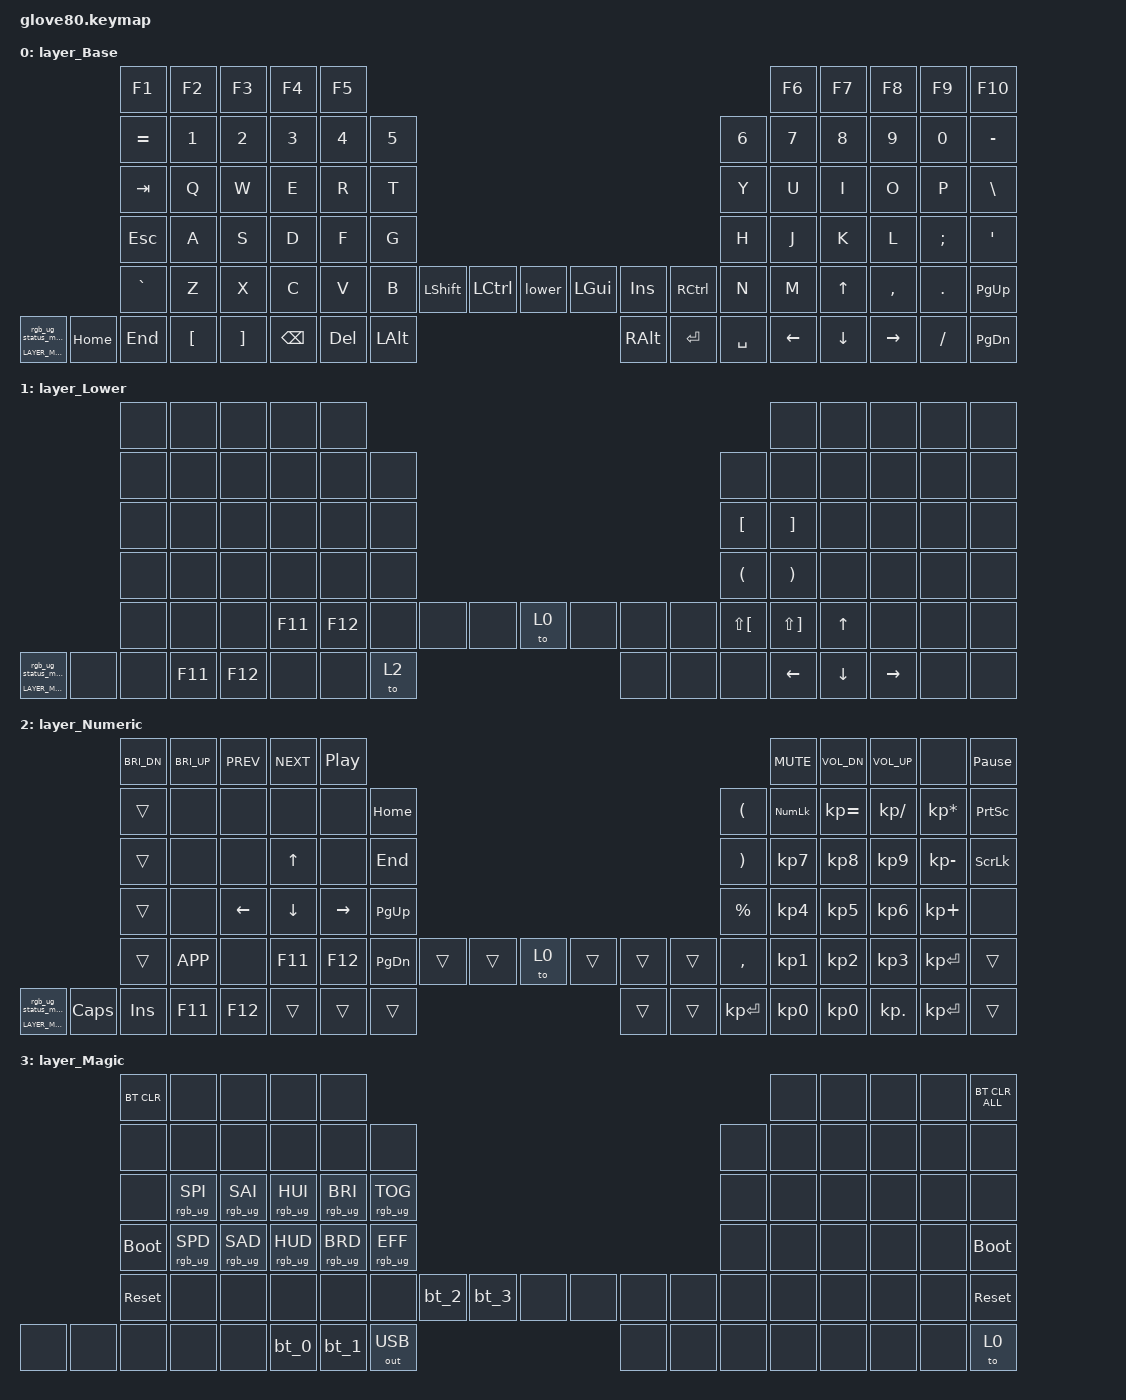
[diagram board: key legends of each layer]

/*
 * Copyright (c) 2020 The ZMK Contributors
 * Copyright (c) 2023 Innaworks Development Limited, trading as MoErgo
 *
 * SPDX-License-Identifier: MIT
 */


/* THIS FILE WAS GENERATED BY GLOVE80 LAYOUT EDITOR
 *
 * This file was generated automatically. You may or may not want to
 * edit it directly.
 */

#include <behaviors.dtsi>
/* Include all behavior includes needed */
#include <dt-bindings/zmk/outputs.h>
#include <dt-bindings/zmk/keys.h>
#include <dt-bindings/zmk/bt.h>
#include <dt-bindings/zmk/rgb.h>
#include <dt-bindings/zmk/rgb_colors.h>

/* Automatically generated layer name #define */
#define LAYER_Base 0
#define LAYER_Lower 1
#define LAYER_Numeric 2
#define LAYER_Magic 3

/* To deal with the situation where there is no Lower layer, to keep &lower happy */
#ifndef LAYER_Lower
#define LAYER_Lower 0
#endif

/* Custom Device-tree */
/{
    underglow-layer {
        compatible  = "zmk,underglow-layer";
        base {
            bindings = <
                ______ ______ ______ ______ ______                                                          ______ ______ ______ ______ ______
                ______ ______ ______ ______ ______ ______                                            ______ ______ ______ ______ ______ ______
                ______ ______ ______ ______ ______ ______                                            ______ ______ ______ ______ ______ ______
                ______ ______ ______ ______ ______ ______                                            ______ ______ ______ ______ ______ ______
                ______ ______ ______ ______ ______ ______ ______ ______ ______  ______ ______ ______ ______ ______ ______ ______ ______ ______
                ______ ______ ______ ______ ______        ______ ______ ______  ______ ______ ______        ______ ______ ______ ______ ______
                >;
            layer-id = <LAYER_Base>;
        };
        lower {
            bindings = <
                ______ ______ ______ ______ ______                                                          ______ ______ ______ ______ ______
                ______ ______ ______ ______ ______ ______                                            ______ ______ ______ ______ ______ ______
                ______ ______ ______ ______ ______ ______                                              BLUE   BLUE ______ ______ ______ ______
                ______ ______ ______ ______ ______ ______                                              BLUE   BLUE ______ ______ ______ ______
                ______ ______ ______   BLUE   BLUE ______ ______ ______  GREEN  ______ ______ ______   BLUE   BLUE ORANGE ______ ______ ______
                 GREEN ______ ______   BLUE   BLUE        ______ ______  GREEN  ______ ______ ______        ORANGE ORANGE ORANGE ______ ______
                >;
            layer-id = <LAYER_Lower>;
        };
        numeric {
            bindings = <
                  BLUE   BLUE PURPLE  PURPLE  PINK                                                            PURPLE PURPLE PURPLE ______ PURPLE
                ______ ______ ______ ______ ______ PURPLE                                             PURPLE    GOLD ORANGE ORANGE ORANGE PURPLE
                ______ ______ ______ ORANGE ______ PURPLE                                             PURPLE  YELLOW YELLOW YELLOW ORANGE PURPLE
                ______ ______ ORANGE ORANGE ORANGE PURPLE                                             PURPLE  YELLOW YELLOW YELLOW ORANGE ______
                ______   PINK ______   BLUE   BLUE PURPLE  ______ ______  GREEN  ______ ______ ______ PURPLE  YELLOW YELLOW YELLOW    RED ______
                 GREEN   PINK PURPLE   BLUE   BLUE        ______ ______ ______  ______ ______    RED        YELLOW YELLOW ORANGE    RED ______
                >;
            layer-id = <LAYER_Numeric>;
        };
    };
};

/* Glove80 system behavior & macros */
/ {
    behaviors {
        // For the "layer" key, it'd nice to be able to use it as either a shift or a toggle.
        // Configure it as a tap dance, so the first tap (or hold) is a &mo and the second tap is a &to
        lower: lower {
            compatible = "zmk,behavior-tap-dance";
            label = "LAYER_TAP_DANCE";
            #binding-cells = <0>;
            tapping-term-ms = <200>;
            bindings = <&mo LAYER_Lower>, <&to LAYER_Lower>;
        };
    };
};

/ {
    macros {
        rgb_ug_status_macro: rgb_ug_status_macro {
            label = "RGB_UG_STATUS";
            compatible = "zmk,behavior-macro";
            #binding-cells = <0>;
            bindings
                = <&rgb_ug RGB_STATUS>;
        };
    };
};


/ {
#ifdef BT_DISC_CMD
    behaviors {
        bt_0: bt_0 {
            compatible = "zmk,behavior-tap-dance";
            label = "BT_0";
            #binding-cells = <0>;
            tapping-term-ms = <200>;
            bindings = <&bt_select_0>, <&bt BT_DISC 0>;
        };
        bt_1: bt_1 {
            compatible = "zmk,behavior-tap-dance";
            label = "BT_1";
            #binding-cells = <0>;
            tapping-term-ms = <200>;
            bindings = <&bt_select_1>, <&bt BT_DISC 1>;
        };
        bt_2: bt_2 {
            compatible = "zmk,behavior-tap-dance";
            label = "BT_2";
            #binding-cells = <0>;
            tapping-term-ms = <200>;
            bindings = <&bt_select_2>, <&bt BT_DISC 2>;
        };
        bt_3: bt_3 {
            compatible = "zmk,behavior-tap-dance";
            label = "BT_3";
            #binding-cells = <0>;
            tapping-term-ms = <200>;
            bindings = <&bt_select_3>, <&bt BT_DISC 3>;
        };
    };
    macros {
        bt_select_0: bt_select_0 {
            label = "BT_SELECT_0";
            compatible = "zmk,behavior-macro";
            #binding-cells = <0>;
            bindings
                = <&out OUT_BLE>,
                  <&bt BT_SEL 0>;
        };
        bt_select_1: bt_select_1 {
            label = "BT_SELECT_1";
            compatible = "zmk,behavior-macro";
            #binding-cells = <0>;
            bindings
                = <&out OUT_BLE>,
                  <&bt BT_SEL 1>;
        };
        bt_select_2: bt_select_2 {
            label = "BT_SELECT_2";
            compatible = "zmk,behavior-macro";
            #binding-cells = <0>;
            bindings
                = <&out OUT_BLE>,
                  <&bt BT_SEL 2>;
        };
        bt_select_3: bt_select_3 {
            label = "BT_SELECT_3";
            compatible = "zmk,behavior-macro";
            #binding-cells = <0>;
            bindings
                = <&out OUT_BLE>,
                  <&bt BT_SEL 3>;
        };
    };
#else
    macros {
        bt_0: bt_0 {
            label = "BT_0";
            compatible = "zmk,behavior-macro";
            #binding-cells = <0>;
            bindings
                = <&out OUT_BLE>,
                  <&bt BT_SEL 0>;
        };
        bt_1: bt_1 {
            label = "BT_1";
            compatible = "zmk,behavior-macro";
            #binding-cells = <0>;
            bindings
                = <&out OUT_BLE>,
                  <&bt BT_SEL 1>;
        };
        bt_2: bt_2 {
            label = "BT_2";
            compatible = "zmk,behavior-macro";
            #binding-cells = <0>;
            bindings
                = <&out OUT_BLE>,
                  <&bt BT_SEL 2>;
        };
        bt_3: bt_3 {
            label = "BT_3";
            compatible = "zmk,behavior-macro";
            #binding-cells = <0>;
            bindings
                = <&out OUT_BLE>,
                  <&bt BT_SEL 3>;
        };
    };
#endif
};

/ {
    behaviors {
        magic: magic {
            compatible = "zmk,behavior-hold-tap";
            label = "MAGIC_HOLD_TAP";
            #binding-cells = <2>;
            flavor = "tap-preferred";
            tapping-term-ms = <200>;
            bindings = <&mo>, <&rgb_ug_status_macro>;
        };
    };
};

/* #define for key positions */
#define POS_LH_T1 52
#define POS_LH_T2 53
#define POS_LH_T3 54
#define POS_LH_T4 69
#define POS_LH_T5 70
#define POS_LH_T6 71
#define POS_LH_C1R2 15
#define POS_LH_C1R3 27
#define POS_LH_C1R4 39
#define POS_LH_C1R5 51
#define POS_LH_C2R1 4
#define POS_LH_C2R2 14
#define POS_LH_C2R3 26
#define POS_LH_C2R4 38
#define POS_LH_C2R5 50
#define POS_LH_C2R6 68
#define POS_LH_C3R1 3
#define POS_LH_C3R2 13
#define POS_LH_C3R3 25
#define POS_LH_C3R4 37
#define POS_LH_C3R5 49
#define POS_LH_C3R6 67
#define POS_LH_C4R1 2
#define POS_LH_C4R2 12
#define POS_LH_C4R3 24
#define POS_LH_C4R4 36
#define POS_LH_C4R5 48
#define POS_LH_C4R6 66
#define POS_LH_C5R1 1
#define POS_LH_C5R2 11
#define POS_LH_C5R3 23
#define POS_LH_C5R4 35
#define POS_LH_C5R5 47
#define POS_LH_C5R6 65
#define POS_LH_C6R1 0
#define POS_LH_C6R2 10
#define POS_LH_C6R3 22
#define POS_LH_C6R4 34
#define POS_LH_C6R5 46
#define POS_LH_C6R6 64
#define POS_RH_T1 57
#define POS_RH_T2 56
#define POS_RH_T3 55
#define POS_RH_T4 74
#define POS_RH_T5 73
#define POS_RH_T6 72
#define POS_RH_C1R2 16
#define POS_RH_C1R3 28
#define POS_RH_C1R4 40
#define POS_RH_C1R5 58
#define POS_RH_C2R1 5
#define POS_RH_C2R2 17
#define POS_RH_C2R3 29
#define POS_RH_C2R4 41
#define POS_RH_C2R5 59
#define POS_RH_C2R6 75
#define POS_RH_C3R1 6
#define POS_RH_C3R2 18
#define POS_RH_C3R3 30
#define POS_RH_C3R4 42
#define POS_RH_C3R5 60
#define POS_RH_C3R6 76
#define POS_RH_C4R1 7
#define POS_RH_C4R2 19
#define POS_RH_C4R3 31
#define POS_RH_C4R4 43
#define POS_RH_C4R5 61
#define POS_RH_C4R6 77
#define POS_RH_C5R1 8
#define POS_RH_C5R2 20
#define POS_RH_C5R3 32
#define POS_RH_C5R4 44
#define POS_RH_C5R5 62
#define POS_RH_C5R6 78
#define POS_RH_C6R1 9
#define POS_RH_C6R2 21
#define POS_RH_C6R3 33
#define POS_RH_C6R4 45
#define POS_RH_C6R5 63
#define POS_RH_C6R6 79

/* Custom Defined Behaviors */
/ {

};

/* Automatically generated macro definitions */
/ {
    macros {
    
    };
};

/* Automatically generated keymap */
/ {
    keymap {
        compatible = "zmk,keymap";


        layer_Base {
            bindings = <
               &kp F1    &kp F2   &kp F3    &kp F4    &kp F5                                                                                  &kp F6    &kp F7     &kp F8    &kp F9    &kp F10
            &kp EQUAL    &kp N1   &kp N2    &kp N3    &kp N4  &kp N5                                                                &kp N6    &kp N7    &kp N8     &kp N9    &kp N0  &kp MINUS
              &kp TAB     &kp Q    &kp W     &kp E     &kp R   &kp T                                                                 &kp Y     &kp U     &kp I      &kp O     &kp P   &kp BSLH
              &kp ESC     &kp A    &kp S     &kp D     &kp F   &kp G                                                                 &kp H     &kp J     &kp K      &kp L  &kp SEMI    &kp SQT
            &kp GRAVE     &kp Z    &kp X     &kp C     &kp V   &kp B  &kp LSHFT  &kp LCTRL    &lower  &kp LGUI  &kp INS  &kp RCTRL   &kp N     &kp M    &kp UP  &kp COMMA   &kp DOT  &kp PG_UP
 &magic LAYER_Magic 0  &kp HOME  &kp END  &kp LBKT  &kp RBKT           &kp BSPC    &kp DEL  &kp LALT  &kp RALT  &kp RET  &kp SPACE          &kp LEFT  &kp DOWN  &kp RIGHT  &kp FSLH  &kp PG_DN
            >;
        };

        layer_Lower {
            bindings = <
                &none   &none   &none    &none    &none                                                                               &none     &none      &none   &none   &none
                &none   &none   &none    &none    &none   &none                                                         &none         &none     &none      &none   &none   &none
                &none   &none   &none    &none    &none   &none                                                      &kp LBKT      &kp RBKT     &none      &none   &none   &none
                &none   &none   &none    &none    &none   &none                                                      &kp LPAR      &kp RPAR     &none      &none   &none   &none
                &none   &none   &none  &kp F11  &kp F12   &none   &none   &none   &to 0   &none   &none   &none  &kp LS(LBKT)  &kp LS(RBKT)    &kp UP      &none   &none   &none
 &magic LAYER_Magic 0   &none   &none  &kp F11  &kp F12           &none   &none   &to 2   &none   &none   &none                    &kp LEFT  &kp DOWN  &kp RIGHT   &none   &none
            >;
        };

        layer_Numeric {
            bindings = <
         &kp C_BRI_DN  &kp C_BRI_UP      &kp C_PREV      &kp C_NEXT         &kp C_PP                                                                                          &kp C_MUTE  &kp C_VOL_DN  &kp C_VOL_UP            &none  &kp PAUSE_BREAK
               &trans         &none           &none           &none            &none   &kp HOME                                                         &kp LEFT_PARENTHESIS  &kp KP_NUM  &kp KP_EQUAL  &kp KP_SLASH  &kp KP_MULTIPLY  &kp PRINTSCREEN
               &trans         &none           &none    &kp UP_ARROW            &none    &kp END                                                        &kp RIGHT_PARENTHESIS   &kp KP_N7     &kp KP_N8     &kp KP_N9     &kp KP_MINUS   &kp SCROLLLOCK
               &trans         &none  &kp LEFT_ARROW  &kp DOWN_ARROW  &kp RIGHT_ARROW  &kp PG_UP                                                                  &kp PERCENT   &kp KP_N4     &kp KP_N5     &kp KP_N6      &kp KP_PLUS            &none
               &trans     &kp K_APP           &none         &kp F11          &kp F12  &kp PG_DN  &trans  &trans   &to 0  &trans  &trans        &trans              &kp COMMA   &kp KP_N1     &kp KP_N2     &kp KP_N3     &kp KP_ENTER           &trans
 &magic LAYER_Magic 0      &kp CAPS         &kp INS         &kp F11          &kp F12             &trans  &trans  &trans  &trans  &trans  &kp KP_ENTER                          &kp KP_N0     &kp KP_N0    &kp KP_DOT     &kp KP_ENTER           &trans
            >;
        };

        layer_Magic {
            bindings = <
  &bt BT_CLR            &none            &none            &none            &none                                                                                  &none   &none   &none   &none  &bt BT_CLR_ALL
       &none            &none            &none            &none            &none            &none                                                         &none   &none   &none   &none   &none           &none
       &none  &rgb_ug RGB_SPI  &rgb_ug RGB_SAI  &rgb_ug RGB_HUI  &rgb_ug RGB_BRI  &rgb_ug RGB_TOG                                                         &none   &none   &none   &none   &none           &none
 &bootloader  &rgb_ug RGB_SPD  &rgb_ug RGB_SAD  &rgb_ug RGB_HUD  &rgb_ug RGB_BRD  &rgb_ug RGB_EFF                                                         &none   &none   &none   &none   &none     &bootloader
  &sys_reset            &none            &none            &none            &none            &none   &bt_2   &bt_3         &none   &none   &none   &none   &none   &none   &none   &none   &none      &sys_reset
       &none            &none            &none            &none            &none                    &bt_0   &bt_1  &out OUT_USB   &none   &none   &none           &none   &none   &none   &none           &to 0
            >;
        };

    };
};
